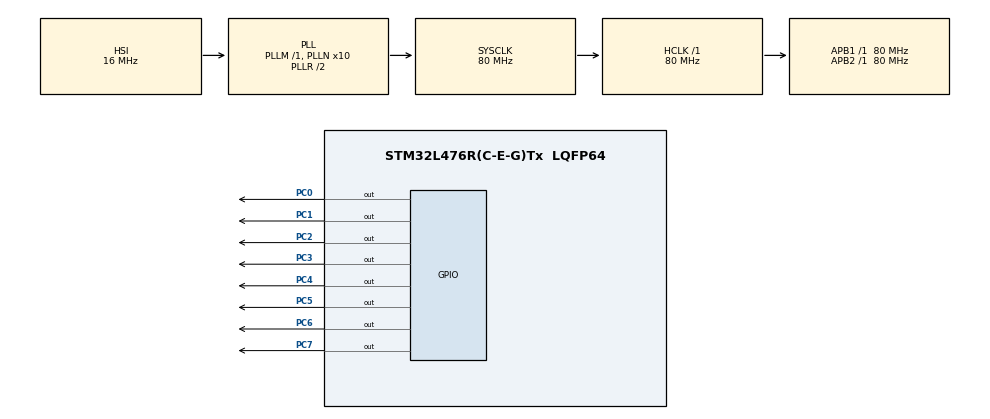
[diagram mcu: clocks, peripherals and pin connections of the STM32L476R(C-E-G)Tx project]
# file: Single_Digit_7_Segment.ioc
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Mcu.Family=STM32L4
Mcu.Name=STM32L476R(C-E-G)Tx
Mcu.Package=LQFP64
NVIC.PriorityGroup=NVIC_PRIORITYGROUP_4
PC0.Signal=GPIO_Output
PC1.Signal=GPIO_Output
PC2.Signal=GPIO_Output
PC3.Signal=GPIO_Output
PC4.Signal=GPIO_Output
PC5.Signal=GPIO_Output
PC6.Signal=GPIO_Output
PC7.Signal=GPIO_Output
ProjectManager.HeapSize=0x200
ProjectManager.StackSize=0x400
ProjectManager.TargetToolchain=STM32CubeIDE
RCC.ADCFreq_Value=64000000
RCC.AHBFreq_Value=80000000
RCC.APB1Freq_Value=80000000
RCC.APB1TimFreq_Value=80000000
RCC.APB2Freq_Value=80000000
RCC.APB2TimFreq_Value=80000000
RCC.CortexFreq_Value=80000000
RCC.HCLKFreq_Value=80000000
RCC.HSE_VALUE=8000000
RCC.HSI_VALUE=16000000
RCC.LSE_VALUE=32768
RCC.MSI_VALUE=4000000
RCC.PLLN=10
RCC.PLLSourceVirtual=RCC_PLLSOURCE_HSI
RCC.SYSCLKFreq_VALUE=80000000
RCC.SYSCLKSource=RCC_SYSCLKSOURCE_PLLCLK
RCC.USBFreq_Value=64000000
RCC.VCOOutputFreq_Value=160000000
board=custom

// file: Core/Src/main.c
/* USER CODE BEGIN Header */
/**
  ******************************************************************************
  * @file           : main.c
  * @brief          : Main program body
  ******************************************************************************
  * @attention
  *
  * Copyright (c) 2025 STMicroelectronics.
  * All rights reserved.
  *
  * This software is licensed under terms that can be found in the LICENSE file
  * in the root directory of this software component.
  * If no LICENSE file comes with this software, it is provided AS-IS.
  *
  ******************************************************************************
  */
/* USER CODE END Header */
#include "main.h"

/* USER CODE BEGIN PV */
int LEDs[] = {	0xBF, 	//0.
				0x86, 	//1.
				0xDB,	//2.
				0xCF,	//3.
				0xE6,	//4.
				0xED,	//5.
				0xFD,	//6.
				0x87,	//7.
				0xFF,	//8.
				0xEF	//9.
};
int count = 0;
/* USER CODE END PV */

void SystemClock_Config(void);
static void MX_GPIO_Init(void);

int main(void)
{

  /* MCU Configuration--------------------------------------------------------*/

  /* Reset of all peripherals, Initializes the Flash interface and the Systick. */
  HAL_Init();

  /* Configure the system clock */
  SystemClock_Config();

  /* Initialize all configured peripherals */
  MX_GPIO_Init();

  /* Infinite loop */
  while (1)
  {

    /* USER CODE BEGIN 3 */
	  GPIOC -> ODR = LEDs[count];
	  HAL_Delay(1000);
	  count++;
	  if (count == 10)
		  count = 0;
  }
  /* USER CODE END 3 */
}

void SystemClock_Config(void)
{
  RCC_OscInitTypeDef RCC_OscInitStruct = {0};
  RCC_ClkInitTypeDef RCC_ClkInitStruct = {0};

  /** Configure the main internal regulator output voltage
  */
  if (HAL_PWREx_ControlVoltageScaling(PWR_REGULATOR_VOLTAGE_SCALE1) != HAL_OK)
  {
    Error_Handler();
  }

  /** Initializes the RCC Oscillators according to the specified parameters
  * in the RCC_OscInitTypeDef structure.
  */
  RCC_OscInitStruct.OscillatorType = RCC_OSCILLATORTYPE_HSI;
  RCC_OscInitStruct.HSIState = RCC_HSI_ON;
  RCC_OscInitStruct.HSICalibrationValue = RCC_HSICALIBRATION_DEFAULT;
  RCC_OscInitStruct.PLL.PLLState = RCC_PLL_ON;
  RCC_OscInitStruct.PLL.PLLSource = RCC_PLLSOURCE_HSI;
  RCC_OscInitStruct.PLL.PLLM = 1;
  RCC_OscInitStruct.PLL.PLLN = 10;
  RCC_OscInitStruct.PLL.PLLP = RCC_PLLP_DIV7;
  RCC_OscInitStruct.PLL.PLLQ = RCC_PLLQ_DIV2;
  RCC_OscInitStruct.PLL.PLLR = RCC_PLLR_DIV2;
  if (HAL_RCC_OscConfig(&RCC_OscInitStruct) != HAL_OK)
  {
    Error_Handler();
  }

  /** Initializes the CPU, AHB and APB buses clocks
  */
  RCC_ClkInitStruct.ClockType = RCC_CLOCKTYPE_HCLK|RCC_CLOCKTYPE_SYSCLK
                              |RCC_CLOCKTYPE_PCLK1|RCC_CLOCKTYPE_PCLK2;
  RCC_ClkInitStruct.SYSCLKSource = RCC_SYSCLKSOURCE_PLLCLK;
  RCC_ClkInitStruct.AHBCLKDivider = RCC_SYSCLK_DIV1;
  RCC_ClkInitStruct.APB1CLKDivider = RCC_HCLK_DIV1;
  RCC_ClkInitStruct.APB2CLKDivider = RCC_HCLK_DIV1;

  if (HAL_RCC_ClockConfig(&RCC_ClkInitStruct, FLASH_LATENCY_4) != HAL_OK)
  {
    Error_Handler();
  }
}

static void MX_GPIO_Init(void)
{
  GPIO_InitTypeDef GPIO_InitStruct = {0};

  /* GPIO Ports Clock Enable */
  __HAL_RCC_GPIOC_CLK_ENABLE();

  /*Configure GPIO pin Output Level */
  HAL_GPIO_WritePin(GPIOC, GPIO_PIN_0|GPIO_PIN_1|GPIO_PIN_2|GPIO_PIN_3
                          |GPIO_PIN_4|GPIO_PIN_5|GPIO_PIN_6|GPIO_PIN_7, GPIO_PIN_RESET);

  /*Configure GPIO pins : PC0 PC1 PC2 PC3
                           PC4 PC5 PC6 PC7 */
  GPIO_InitStruct.Pin = GPIO_PIN_0|GPIO_PIN_1|GPIO_PIN_2|GPIO_PIN_3
                          |GPIO_PIN_4|GPIO_PIN_5|GPIO_PIN_6|GPIO_PIN_7;
  GPIO_InitStruct.Mode = GPIO_MODE_OUTPUT_PP;
  GPIO_InitStruct.Pull = GPIO_NOPULL;
  GPIO_InitStruct.Speed = GPIO_SPEED_FREQ_LOW;
  HAL_GPIO_Init(GPIOC, &GPIO_InitStruct);

}

void Error_Handler(void)
{
  __disable_irq();
  while (1)
  {
  }
}
